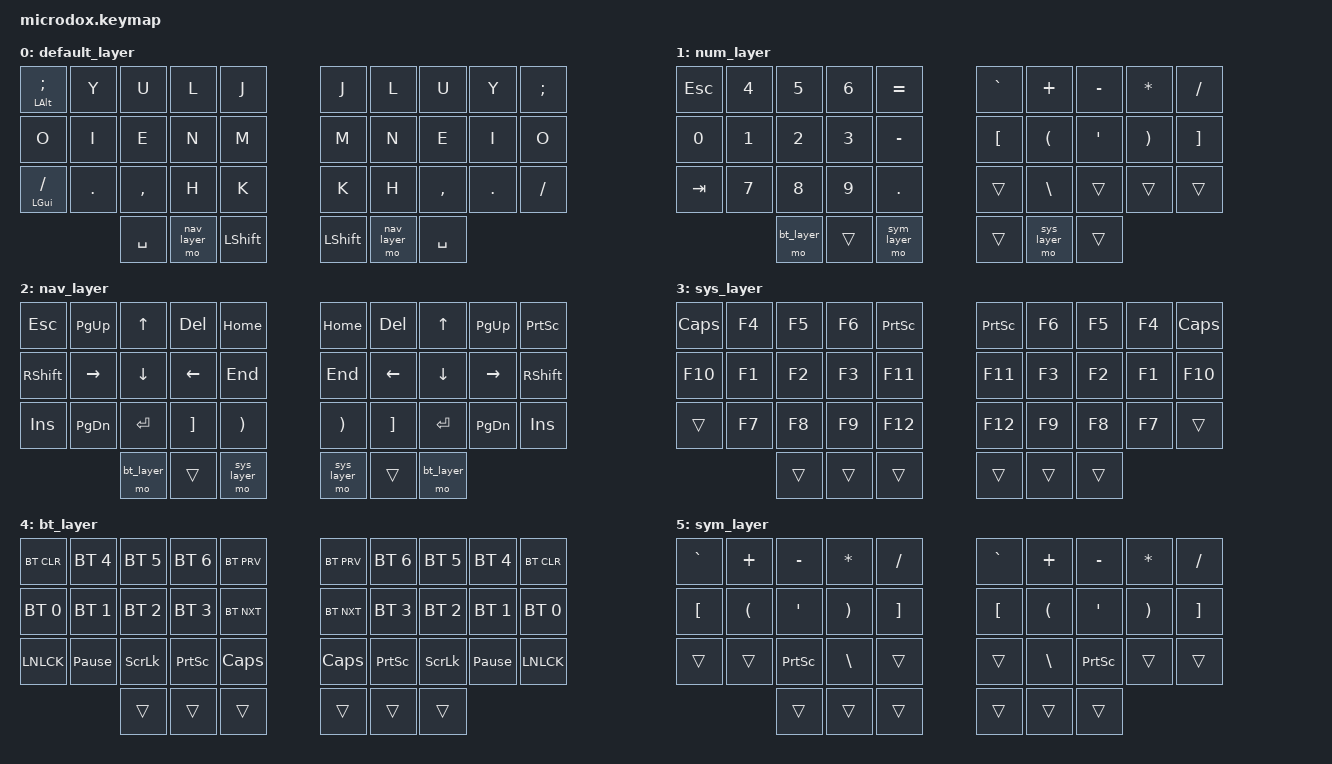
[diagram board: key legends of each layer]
/*
 * Copyright (c) 2020 The ZMK Contributors
 *
 * SPDX-License-Identifier: MIT
 */

#include <behaviors.dtsi>
#include <dt-bindings/zmk/keys.h>
#include <dt-bindings/zmk/bt.h>

#define DEFAULT   0
#define num_layer 1
#define nav_layer 2
#define sys_layer 3
#define bt_layer  4
#define sym_layer 5

/ {
        keymap {
                compatible = "zmk,keymap";

                default_layer {
                        bindings = <
   &mt LALT SEMI &kp Y   &kp U     &kp L          &kp J       &kp J       &kp L         &kp U         &kp Y    &kp SEMI
   &kp O         &kp I   &kp E     &kp N          &kp M       &kp M       &kp N         &kp E         &kp I    &kp O
   &mt LGUI FSLH &kp DOT &kp COMMA &kp H          &kp K       &kp K       &kp H         &kp COMMA     &kp DOT  &kp FSLH
                         &kp SPACE &mo nav_layer  &kp LSHFT   &kp LSHFT   &mo nav_layer &kp SPACE
                        >;
                };
                num_layer {
                        bindings = <
   &kp ESC &kp N4 &kp N5        &kp N6 &kp EQUAL      &kp GRAVE &kp PLUS         &kp MINUS &kp STAR &kp SLASH
   &kp N0  &kp N1 &kp N2        &kp N3 &kp MINUS      &kp LBKT  &kp LPAR         &kp SQT   &kp RPAR &kp RBKT
   &kp TAB &kp N7 &kp N8        &kp N9 &kp DOT        &trans    &kp BSLH         &trans    &trans   &trans
                  &mo bt_layer  &trans &mo sym_layer  &trans    &mo sys_layer    &trans
                        >;
                };

                nav_layer {
                        bindings = <
   &kp ESC &kp PG_UP &kp UP         &kp DEL  &kp HOME        &kp HOME      &kp DEL  &kp UP   &kp PG_UP &kp PSCRN
   &kp RSHFT &kp RIGHT &kp DOWN       &kp LEFT &kp END         &kp END       &kp LEFT &kp DOWN &kp RIGHT &kp RSHFT
   &kp INS   &kp PG_DN &kp RET        &kp RBKT &kp RPAR        &kp RPAR      &kp RBKT &kp RET  &kp PG_DN &kp INS
                       &mo bt_layer   &trans   &mo sys_layer   &mo sys_layer &trans   &mo bt_layer
                        >;
                };

                sys_layer {
                        bindings = <
   &kp CAPS &kp F4 &kp F5 &kp F6 &kp PSCRN   &kp PSCRN &kp F6 &kp F5 &kp F4 &kp CAPS
   &kp F10  &kp F1 &kp F2 &kp F3 &kp F11     &kp F11   &kp F3 &kp F2 &kp F1 &kp F10
   &trans   &kp F7 &kp F8 &kp F9 &kp F12     &kp F12   &kp F9 &kp F8 &kp F7 &trans
                   &trans &trans &trans      &trans    &trans &trans
                        >;
                };
                bt_layer {
                        bindings = <
   &bt BT_CLR   &bt BT_SEL 4    &bt BT_SEL 5 &bt BT_SEL 6 &bt BT_PRV     &bt BT_PRV  &bt BT_SEL 6 &bt BT_SEL 5 &bt BT_SEL 4    &bt BT_CLR
   &bt BT_SEL 0 &bt BT_SEL 1    &bt BT_SEL 2 &bt BT_SEL 3 &bt BT_NXT     &bt BT_NXT  &bt BT_SEL 3 &bt BT_SEL 2 &bt BT_SEL 1    &bt BT_SEL 0
   &kp LNLCK    &kp PAUSE_BREAK &kp SLCK     &kp PSCRN    &kp CAPS       &kp CAPS    &kp PSCRN    &kp SLCK     &kp PAUSE_BREAK &kp LNLCK
                                &trans       &trans       &trans         &trans      &trans       &trans
                        >;
                };
                sym_layer {
                        bindings = <
   &kp GRAVE &kp PLUS &kp MINUS &kp STAR &kp SLASH   &kp GRAVE &kp PLUS  &kp MINUS &kp STAR &kp SLASH
   &kp LBKT  &kp LPAR &kp SQT   &kp RPAR &kp RBKT    &kp LBKT  &kp LPAR  &kp SQT   &kp RPAR &kp RBKT
   &trans    &trans   &kp PSCRN &kp BSLH &trans      &trans    &kp BSLH  &kp PSCRN &trans   &trans
                      &trans    &trans   &trans      &trans    &trans    &trans
                        >;
                };
        };
};
